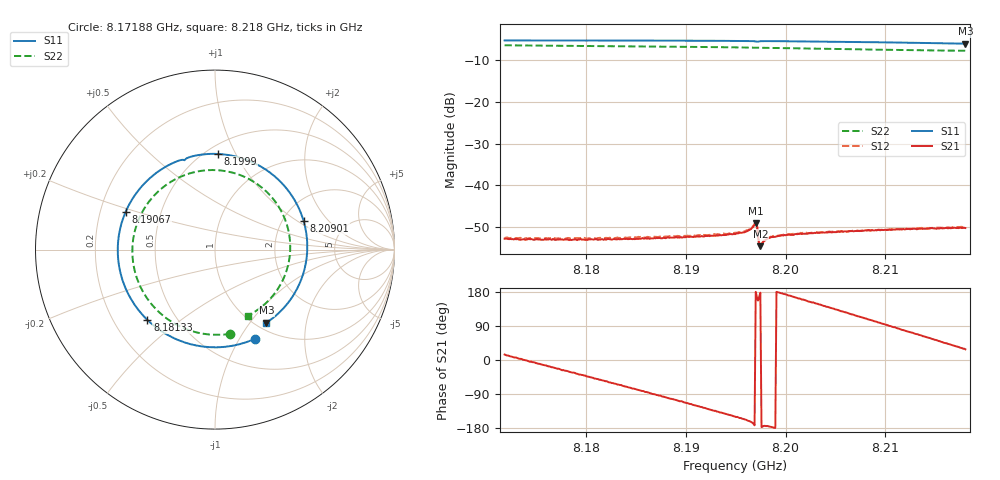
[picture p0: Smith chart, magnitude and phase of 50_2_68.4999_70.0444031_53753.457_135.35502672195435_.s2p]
#  HZ  S  RI  R  50.00
! Rohde & Schwarz Vector Network Analyzer
! Rohde-Schwarz,ZNB20-2Port,1311601062101988,3.16
! Created: UTC 3/20/2024, 5:05:57 PM
! freq[Hz]  re:S11  im:S11  re:S21  im:S21  re:S12  im:S12  re:S22  im:S22
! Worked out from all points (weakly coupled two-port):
!   401 points, 8.17188 GHz to 8.218 GHz, reference 50 ohm
!   highest |S21| = -49.01 dB at 8.19702 GHz (marker M1); lowest = -54.5 dB at 8.19748 GHz (marker M2)
!   lowest |S11| = -6.1 dB at 8.218 GHz (marker M3), VSWR 2.99, Z = 55.7 - j60.4 ohm
!   |S11| at or under -10 dB: nowhere
!   |S22| runs from -7.7 to -6.4 dB; largest |S21 - S12| = 0.00018
!   S11 on the Smith chart (normalised r, x): 8.17188 GHz: 0.83, -1.17; 8.18133 GHz: 0.34, -0.38; 8.19067 GHz: 0.31, +0.18; 8.1999 GHz: 0.57, +0.85; 8.20901 GHz: 2.59, +1.13; 8.218 GHz: 1.11, -1.21
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8.17188e9  0.2254 -0.4955  0.00223 0.000575  0.00228 0.000554  0.086 -0.4691
8.1758e9  -0.0355 -0.5432  0.00217 -0.000514  0.00224 -0.000544  -0.1352 -0.4521
8.179605e9  -0.2827 -0.4647  0.00172 -0.00143  0.00181 -0.00149  -0.3183 -0.3424
8.181335e9  -0.3769 -0.3914  0.00139 -0.00177  0.00145 -0.00185  -0.3805 -0.2682
8.184448e9  -0.4987 -0.2143  0.000665 -0.00219  0.000658 -0.0023  -0.4492 -0.1098
8.18733e9  -0.5415 -0.0192  -0.000167 -0.00235  -0.000207 -0.00242  -0.4568 0.0498
8.190674e9  -0.4985 0.2089  -0.00113 -0.00214  -0.00123 -0.00219  -0.3968 0.2243
8.192749e9  -0.4239 0.3335  -0.00171 -0.00181  -0.0018 -0.00182  -0.3257 0.3152
8.19494e9  -0.3114 0.4384  -0.00224 -0.00133  -0.00239 -0.00128  -0.2279 0.3882
8.196093e9  -0.2408 0.4796  -0.00262 -0.00105  -0.00274 -0.000974  -0.169 0.4154
8.1969e9  -0.1847 0.4998  -0.00335 -0.000454  -0.00345 -0.000328  -0.1255 0.4288
8.197015e9  -0.1759 0.5001  -0.00354 1.64e-05  -0.00362 0.000162  -0.1193 0.4305
8.197476e9  -0.1554 0.5099  -0.00187 7.89e-05  -0.0019 0.000148  -0.0942 0.4358
8.197592e9  -0.1471 0.5135  -0.00197 -0.000105  -0.002 -4.33e-05  -0.0877 0.4372
8.198399e9  -0.0895 0.5271  -0.00235 -0.000181  -0.00237 -5.5e-05  -0.0423 0.4423
8.199898e9  0.0166 0.5329  -0.00254 0.000268  -0.00255 0.000435  0.0428 0.4395
8.202665e9  0.2058 0.488  -0.00237 0.00128  -0.00233 0.00138  0.1927 0.3915
8.206124e9  0.3989 0.3402  -0.0016 0.00229  -0.00154 0.00234  0.3421 0.2585
8.209006e9  0.4936 0.1597  -0.000584 0.00286  -0.000494 0.00288  0.41 0.1023
8.21039e9  0.512 0.0628  9.4e-06 0.00297  5.53e-05 0.00296  0.4192 0.0193
8.213964e9  0.4718 -0.1879  0.00145 0.00267  0.00154 0.00268  0.3661 -0.1926
8.217999e9  0.2866 -0.4076  0.00272 0.00146  0.00286 0.00146  0.1828 -0.3681
